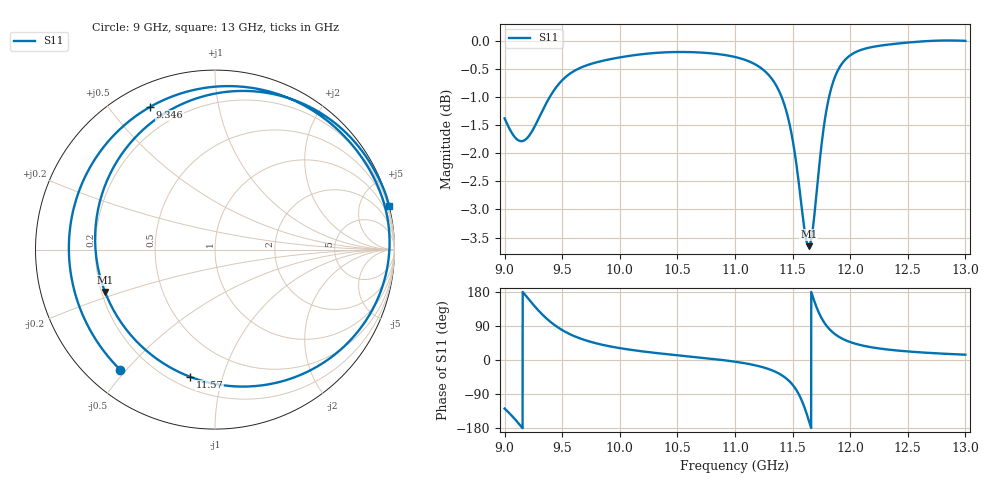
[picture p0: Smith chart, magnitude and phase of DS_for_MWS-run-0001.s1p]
! TOUCHSTONE file generated by CST DESIGN STUDIO
! Date and time: Tue Feb  4 13:58:01 2025
! Project name: C:\Work\MatlabApps\UnitCellOptimizationMatlab\CST\unitcell.cst
! Tree item: Tasks\Sweep1\SPara1\S-Parameters
! Header version: 2024
! Port assignment regex: !\s*Touchstone port\s*([0-9]+)\s*=\s*(CST MWS port|CST DES external port|CST DES block port)\s*(.+)\s* \(\"(.*)\"\)(\s*mode\s*([0-9]+))?.*
! Touchstone port assignment:
! Touchstone port 1 = CST DES external port 1 ("")
# GHz S MA R 50
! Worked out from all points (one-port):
!   4001 points, 9 GHz to 13 GHz, reference 50 ohm
!   lowest |S11| = -3.7 dB at 11.64 GHz (marker M1), VSWR 4.82, Z = 10.7 - j8.9 ohm
!   |S11| at or under -10 dB: nowhere
!   S11 on the Smith chart (normalised r, x): 9 GHz: 0.10, -0.48; 9.346 GHz: 0.10, +0.64; 11.57 GHz: 0.27, -0.79; 13 GHz: 0.02, +8.15
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9  0.8528 -128.2
9.101  0.818 -160.1
9.175  0.8157 173.0
9.25  0.8347 145.6
9.346  0.8733 114.6
9.417  0.8995 96.0
9.5  0.922 79.0
9.707  0.9501 51.6
10  0.9661 31.3
10.5  0.9768 12.5
11  0.9669 -4.5
11.199  0.9493 -15.7
11.331  0.9213 -28.4
11.426  0.8787 -44.2
11.5  0.8165 -65.4
11.571  0.7222 -101.1
11.605  0.6772 -126.8
11.64  0.6566 -158.9
11.666  0.6696 175.9
11.693  0.706 151.4
11.732  0.7754 122.2
11.772  0.8396 100.0
11.815  0.8896 82.9
11.874  0.9317 66.9
12  0.9701 47.4
12.188  0.9867 33.4
12.5  0.9959 22.6
13  0.9994 14.0
